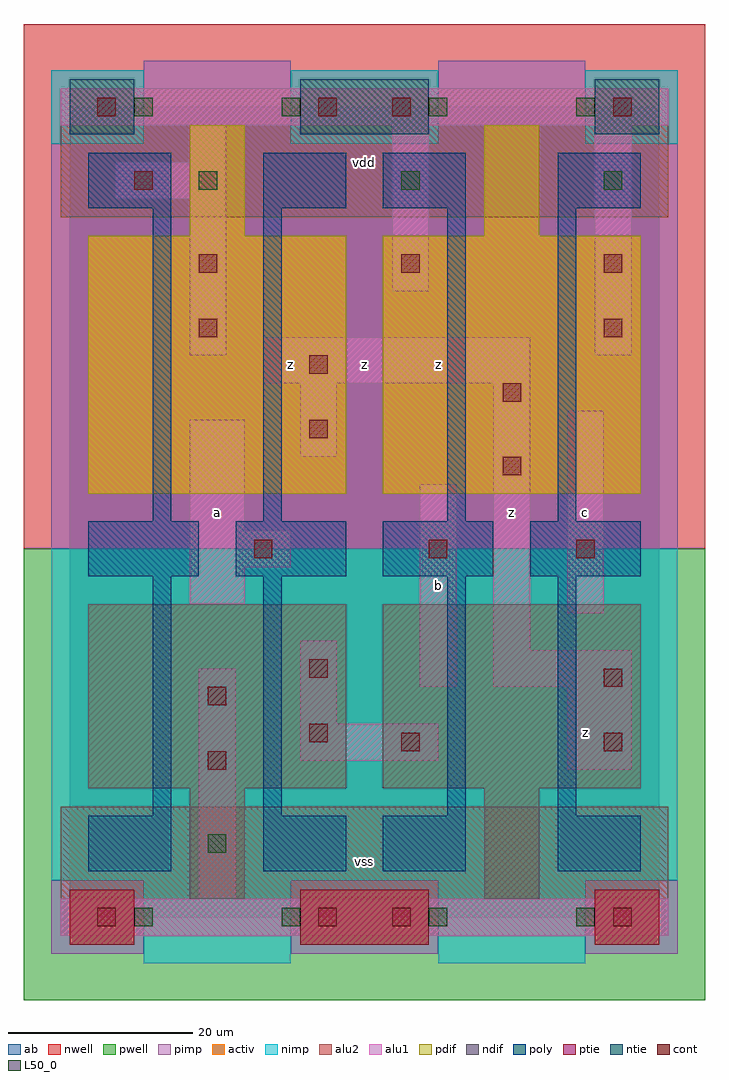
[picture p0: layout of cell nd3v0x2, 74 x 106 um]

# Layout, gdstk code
import gdstk
lib = gdstk.Library(unit=1e-6, precision=1e-09)
def R(c, l, rs):  # rectangles x0, y0, x1, y1
    for r in rs: c.add(gdstk.rectangle(r[:2], r[2:], *l))
def A(c, l, x, y, w, h, nx, ny, dx, dy):  # array of equal rectangles
    R(c, l, [(x+i*dx, y+j*dy, x+i*dx+w, y+j*dy+h) for i in range(nx) for j in range(ny)])
ndif = (3, 0)
pdif = (4, 0)
ntie = (5, 0)
ptie = (6, 0)
cont = (25, 0)
pwell = (41, 0)
nwell = (42, 0)
activ = (43, 0)
pimp = (44, 0)
nimp = (45, 0)
poly = (46, 0)
alu1 = (49, 0)
L50_0 = (50, 0)
alu2 = (51, 0)
ab = (63, 0)

nd3v0x2 = lib.new_cell('nd3v0x2')
R(nd3v0x2, ndif, [(13,2,19,14), (45,2,51,14), (2,14,30,34), (34,14,62,34)])
R(nd3v0x2, pdif, [(2,46,30,74), (34,46,62,74), (13,74,19,86), (45,74,51,86)])
R(nd3v0x2, ntie, [(0,85,7,91), (25,85,39,91), (57,85,64,91)])
R(nd3v0x2, ptie, [(0,-3,7,3), (25,-3,39,3), (57,-3,64,3)])
A(nd3v0x2, cont, 14, 70, 2, 2, 3, 1, 22, 0)
R(nd3v0x2, cont, [(3,-1,5,1), (27,-1,29,1), (35,-1,37,1), (59,-1,61,1), (15,16,17,18), (36,18,38,20), (58,18,60,20), (26,19,28,21), (15,23,17,25), (58,25,60,27), (26,26,28,28), (20,39,22,41), (39,39,41,41), (55,39,57,41), (47,48,49,50), (26,52,28,54), (47,56,49,58), (26,59,28,61), (14,63,16,65), (58,63,60,65), (7,79,9,81), (3,87,5,89), (27,87,29,89), (35,87,37,89), (59,87,61,89)])
R(nd3v0x2, pwell, [(-5,-9,69,40)])
R(nd3v0x2, nwell, [(-5,40,69,97)])
R(nd3v0x2, activ, [(0,-3,7,3), (25,-3,39,3), (57,-3,64,3), (13,2,19,14), (45,2,51,14), (2,14,30,34), (34,14,62,34), (2,46,30,74), (34,46,62,74), (13,74,19,86), (45,74,51,86), (0,85,7,91), (25,85,39,91), (57,85,64,91)])
R(nd3v0x2, pimp, [(-2,-4,8,4), (24,-4,40,4), (56,-4,66,4), (-2,40,66,84), (8,84,24,93), (40,84,56,93)])
R(nd3v0x2, nimp, [(8,-5,24,4), (40,-5,56,4), (-2,4,66,40), (-2,84,8,92), (24,84,40,92), (56,84,66,92)])
A(nd3v0x2, poly, 2, 37, 12, 6, 4, 1, 16, 0)
R(nd3v0x2, poly, [(2,5,11,11), (21,5,30,11), (34,5,43,11), (53,5,62,11), (9,11,11,37), (21,11,23,37), (41,11,43,37), (53,11,55,37), (9,43,11,77), (21,43,23,77), (41,43,43,77), (53,43,55,77), (2,77,11,83), (21,77,30,83), (34,77,43,83), (53,77,62,83)])
R(nd3v0x2, alu1, [(-1,-2,65,2), (14,2,18,27), (54,16,61,25), (25,17,40,21), (25,21,29,30), (38,25,42,47), (46,25,61,29), (46,29,50,58), (54,33,58,55), (13,34,19,38), (13,38,24,42), (13,42,19,54), (25,50,29,58), (21,58,50,63), (13,61,17,78), (57,61,61,86), (35,68,39,86), (5,78,17,82), (13,82,17,86), (-1,86,65,90)])
A(nd3v0x2, L50_0, 7, -1, 2, 2, 4, 2, 16, 88)
A(nd3v0x2, L50_0, 14, 79, 2, 2, 3, 1, 22, 0)
R(nd3v0x2, L50_0, [(15,7,17,9)])
R(nd3v0x2, alu2, [(-1,-2,65,12), (-1,76,65,90)])
R(nd3v0x2, ab, [(0,0,64,88)])
nd3v0x2.add(gdstk.Label('a', (16,44), layer=49, texttype=0))
nd3v0x2.add(gdstk.Label('z', (24,60), layer=49, texttype=0))
nd3v0x2.add(gdstk.Label('b', (40,36), layer=49, texttype=0))
nd3v0x2.add(gdstk.Label('z', (32,60), layer=49, texttype=0))
nd3v0x2.add(gdstk.Label('z', (40,60), layer=49, texttype=0))
nd3v0x2.add(gdstk.Label('z', (56,20), layer=49, texttype=0))
nd3v0x2.add(gdstk.Label('c', (56,44), layer=49, texttype=0))
nd3v0x2.add(gdstk.Label('z', (48,44), layer=49, texttype=0))
nd3v0x2.add(gdstk.Label('vss', (32,6), layer=51, texttype=0))
nd3v0x2.add(gdstk.Label('vdd', (32,82), layer=51, texttype=0))

lib.write_gds('nd3v0x2.gds')
